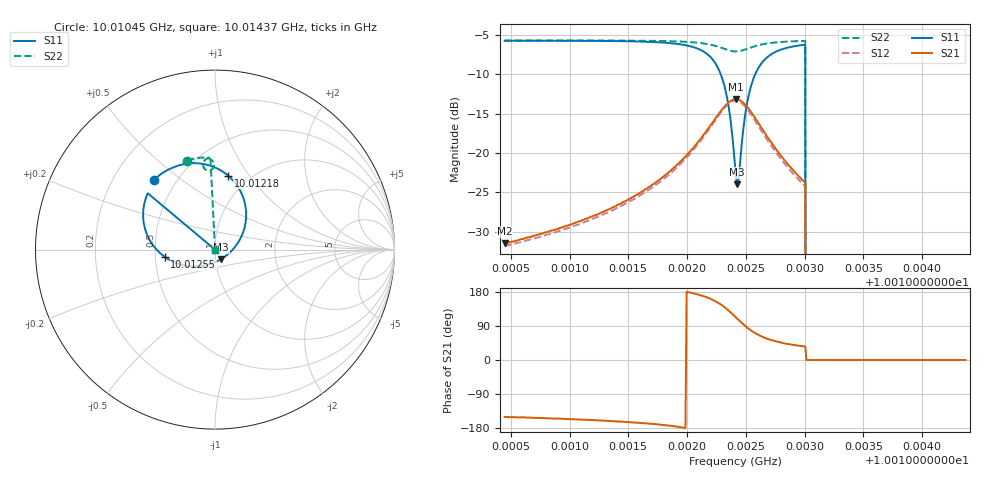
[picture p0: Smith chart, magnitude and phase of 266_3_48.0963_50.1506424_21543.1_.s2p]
#  HZ  S  RI  R  50.00
! Rohde & Schwarz Vector Network Analyzer
! Rohde-Schwarz,ZNB20-2Port,1311601062101988,3.16
! Created: UTC 12/23/2023, 4:01:17 AM
! freq[Hz]  re:S11  im:S11  re:S21  im:S21  re:S12  im:S12  re:S22  im:S22
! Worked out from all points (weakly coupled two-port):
!   401 points, 10.01045 GHz to 10.01437 GHz, reference 50 ohm
!   highest |S21| = -13.17 dB at 10.01242 GHz (marker M1); lowest = -31.5 dB at 10.01045 GHz (marker M2)
!   lowest |S11| = -24.0 dB at 10.01243 GHz (marker M3), VSWR 1.13, Z = 53.2 - j5.69 ohm
!   |S11| at or under -10 dB: 10.01229 GHz to 10.01258 GHz (292.8 kHz wide, 0.00292 % of centre); 10.01301 GHz to end of sweep
!   |S22| runs from - to -5.7 dB; largest |S21 - S12| = 0.011
!   S11 on the Smith chart (normalised r, x): 10.01045 GHz: 0.38, +0.40; 10.01218 GHz: 0.80, +0.80; 10.01255 GHz: 0.56, -0.05; 10.01437 GHz: 1.00, +0.00
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1.0010448e10  -0.34 0.3901  -0.023 -0.0133  -0.0214 -0.014  -0.1542 0.4959
1.0011104e10  -0.2834 0.4322  -0.0344 -0.0142  -0.0324 -0.0154  -0.1102 0.5076
1.0011761e10  -0.1688 0.4769  -0.0664 -0.0116  -0.0632 -0.0143  -0.0587 0.5126
1.0012035e10  -0.0471 0.4734  -0.104 0.0047  -0.1008 -0.000864  -0.0298 0.5061
1.0012182e10  0.0723 0.4126  -0.138 0.0402  -0.1362 0.0317  -0.0121 0.4914
1.0012261e10  0.1452 0.3184  -0.1528 0.0829  -0.1534 0.0727  -0.00595 0.4755
1.0012319e10  0.1737 0.1986  -0.1501 0.1289  -0.1528 0.1199  -0.00823 0.4594
1.0012368e10  0.1479 0.0743  -0.1264 0.1724  -0.1316 0.1636  -0.0181 0.4468
1.0012408e10  0.0809 -0.0179  -0.0919 0.1993  -0.0972 0.1919  -0.0312 0.4414
1.0012417e10  0.0586 -0.0366  -0.0818 0.2038  -0.0869 0.1967  -0.0347 0.4411
1.0012427e10  0.0336 -0.0533  -0.0712 0.2072  -0.0761 0.2005  -0.0385 0.4412
1.0012447e10  -0.019 -0.0777  -0.0497 0.2108  -0.0542 0.2043  -0.0454 0.4424
1.0012476e10  -0.1015 -0.0936  -0.0174 0.2086  -0.0229 0.2022  -0.0545 0.4473
1.0012506e10  -0.1779 -0.0863  0.0109 0.1984  0.00517 0.1923  -0.061 0.4543
1.0012555e10  -0.2796 -0.0409  0.0441 0.1721  0.0373 0.1666  -0.0663 0.4676
1.0012613e10  -0.3525 0.0345  0.0636 0.138  0.0572 0.1341  -0.0654 0.4818
1.0012702e10  -0.3946 0.1359  0.0712 0.0976  0.0643 0.0956  -0.0578 0.4966
1.0012986e10  -0.3775 0.3071  0.0538 0.0396  0.0494 0.04  -0.0276 0.5152
1.0013035e10  0 0  0 0  0 0  0 0
1.0013064e10  0 0  0 0  0 0  0 0
1.0013721e10  0 0  0 0  0 0  0 0
1.0014368e10  0 0  0 0  0 0  0 0
